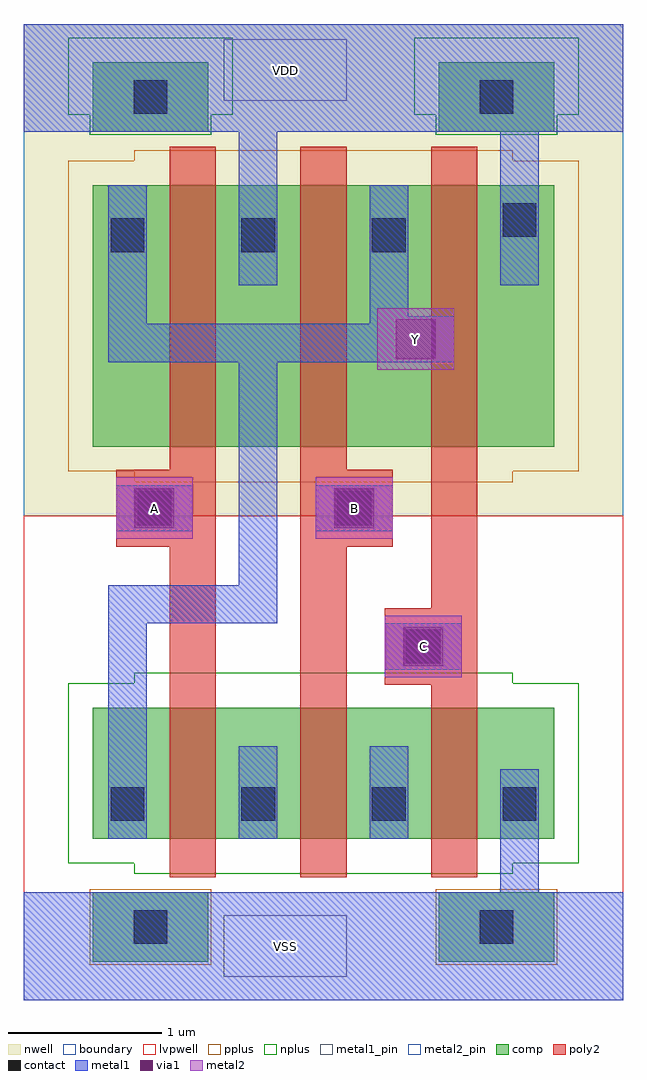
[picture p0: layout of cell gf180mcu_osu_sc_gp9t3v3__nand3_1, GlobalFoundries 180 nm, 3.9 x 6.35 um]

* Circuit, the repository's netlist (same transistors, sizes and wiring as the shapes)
** sch_path: /foss/designs/work/9tnand3/gf180mcu_osu_sc_gp9t3v3__nand3_1.sch
.subckt gf180mcu_osu_sc_gp9t3v3__nand3_1 A B Y C VDD VSS
*.PININFO A:I B:I Y:O C:I VDD:B VSS:B
X1 Y A VDD VDD pfet_03v3 w=1.7u l=0.3u m=1
X0 Y B VDD VDD pfet_03v3 w=1.7u l=0.3u m=1
X2 Y A net1 VSS nfet_03v3 w=0.85u l=0.3u m=1
X3 net1 B net2 VSS nfet_03v3 w=0.85u l=0.3u m=1
X4 net2 C VSS VSS nfet_03v3 w=0.85u l=0.3u m=1
X5 Y C VDD VDD pfet_03v3 w=1.7u l=0.3u m=1
.ends

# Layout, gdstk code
import gdstk
lib = gdstk.Library(unit=1e-6, precision=1e-09)
def R(c, l, rs):  # rectangles x0, y0, x1, y1
    for r in rs: c.add(gdstk.rectangle(r[:2], r[2:], *l))
def A(c, l, x, y, w, h, nx, ny, dx, dy):  # array of equal rectangles
    R(c, l, [(x+i*dx, y+j*dy, x+i*dx+w, y+j*dy+h) for i in range(nx) for j in range(ny)])
boundary = (0, 0)
nwell = (21, 0)
comp = (22, 0)
poly2 = (30, 0)
pplus = (31, 0)
nplus = (32, 0)
contact = (33, 0)
metal1 = (34, 0)
metal1_pin = (34, 10)
via1 = (35, 0)
metal2 = (36, 0)
metal2_pin = (36, 10)
lvpwell = (204, 0)

gf180mcu_osu_sc_gp9t3v3_ = lib.new_cell('gf180mcu_osu_sc_gp9t3v3__nand3_1')
R(gf180mcu_osu_sc_gp9t3v3_, boundary, [(5.15,0,9.05,6.35)])
R(gf180mcu_osu_sc_gp9t3v3_, nwell, [(5.15,3.15,9.05,6.35)])
R(gf180mcu_osu_sc_gp9t3v3_, comp, [(5.6,0.25,6.35,0.7), (7.85,0.25,8.6,0.7), (5.6,1.05,8.6,1.9), (5.6,3.6,8.6,5.3), (5.6,5.65,6.35,6.1), (7.85,5.65,8.6,6.1)])
R(gf180mcu_osu_sc_gp9t3v3_, poly2, [(6.1,0.8,6.4,2.95), (6.95,0.8,7.25,2.95), (7.8,0.8,8.1,2.05), (7.5,2.05,8.1,2.55), (7.8,2.55,8.1,5.55), (5.75,2.95,6.4,3.45), (6.95,2.95,7.55,3.45), (6.1,3.45,6.4,5.55), (6.95,3.45,7.25,5.55)])
R(gf180mcu_osu_sc_gp9t3v3_, pplus, [(5.58,0.23,6.37,0.72), (7.83,0.23,8.62,0.72), (5.87,3.37,8.33,3.44), (5.44,3.44,8.76,5.46), (5.87,5.46,8.33,5.53)])
R(gf180mcu_osu_sc_gp9t3v3_, nplus, [(5.87,0.82,8.33,0.89), (5.44,0.89,8.76,2.06), (5.87,2.06,8.33,2.13), (5.58,5.63,6.37,5.76), (7.83,5.63,8.62,5.76), (5.44,5.76,6.51,6.26), (7.69,5.76,8.76,6.26)])
A(gf180mcu_osu_sc_gp9t3v3_, contact, 5.715, 1.165, 0.22, 0.22, 4, 1, 0.85, 0)
A(gf180mcu_osu_sc_gp9t3v3_, contact, 5.715, 4.865, 0.22, 0.22, 3, 1, 0.85, 0)
R(gf180mcu_osu_sc_gp9t3v3_, contact, [(5.865,0.365,6.085,0.585), (8.115,0.365,8.335,0.585), (7.64,2.19,7.86,2.41), (5.89,3.09,6.11,3.31), (7.19,3.09,7.41,3.31), (8.265,4.965,8.485,5.185), (5.865,5.765,6.085,5.985), (8.115,5.765,8.335,5.985)])
R(gf180mcu_osu_sc_gp9t3v3_, metal1, [(5.15,0,9.05,0.7), (8.25,0.7,8.5,1.5), (5.7,1.05,5.95,2.45), (6.55,1.05,6.8,1.65), (7.4,1.05,7.65,1.65), (7.5,2.15,8,2.45), (5.7,2.45,6.8,2.7), (6.55,2.7,6.8,4.15), (5.75,3.05,6.25,3.35), (7.05,3.05,7.55,3.35), (5.7,4.15,7.95,4.4), (5.7,4.4,5.95,5.3), (7.4,4.4,7.95,4.45), (7.4,4.45,7.65,5.3), (6.55,4.65,6.8,5.65), (8.25,4.65,8.5,5.65), (5.15,5.65,9.05,6.35)])
R(gf180mcu_osu_sc_gp9t3v3_, metal1_pin, [(6.45,0.15,7.25,0.55), (6.45,5.85,7.25,6.25)])
R(gf180mcu_osu_sc_gp9t3v3_, via1, [(7.62,2.17,7.88,2.43), (5.87,3.07,6.13,3.33), (7.17,3.07,7.43,3.33), (7.57,4.17,7.83,4.43)])
R(gf180mcu_osu_sc_gp9t3v3_, metal2, [(7.5,2.1,8,2.5), (5.75,3,6.25,3.4), (7.05,3,7.55,3.4), (7.45,4.1,7.95,4.5)])
R(gf180mcu_osu_sc_gp9t3v3_, metal2_pin, [(7.5,2.1,8,2.5), (5.75,3,6.25,3.4), (7.05,3,7.55,3.4), (7.45,4.1,7.95,4.5)])
R(gf180mcu_osu_sc_gp9t3v3_, lvpwell, [(5.15,0,9.05,3.15)])
gf180mcu_osu_sc_gp9t3v3_.add(gdstk.Label('A', (6,3.2), layer=36, texttype=10))
gf180mcu_osu_sc_gp9t3v3_.add(gdstk.Label('B', (7.3,3.2), layer=36, texttype=10))
gf180mcu_osu_sc_gp9t3v3_.add(gdstk.Label('Y', (7.7,4.3), layer=36, texttype=10))
gf180mcu_osu_sc_gp9t3v3_.add(gdstk.Label('C', (7.75,2.3), layer=36, texttype=10))
gf180mcu_osu_sc_gp9t3v3_.add(gdstk.Label('VDD', (6.85,6.05), layer=34, texttype=10))
gf180mcu_osu_sc_gp9t3v3_.add(gdstk.Label('VSS', (6.85,0.35), layer=34, texttype=10))

lib.write_gds('gf180mcu_osu_sc_gp9t3v3__nand3_1.gds')
